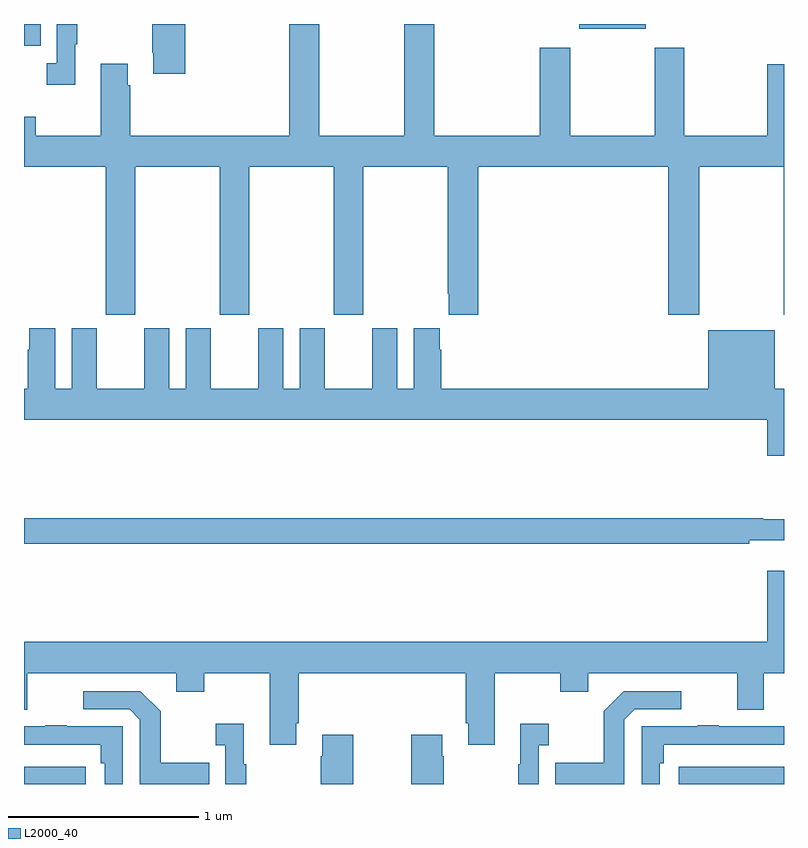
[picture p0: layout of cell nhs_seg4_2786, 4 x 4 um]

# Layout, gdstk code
import gdstk
lib = gdstk.Library(unit=1e-6, precision=1e-09)
def R(c, l, rs):  # rectangles x0, y0, x1, y1
    for r in rs: c.add(gdstk.rectangle(r[:2], r[2:], *l))
def P(c, l, *ps):  # polygons
    for p in ps: c.add(gdstk.Polygon(p, *l))
L2000_40 = (2000, 40)

nhs_seg4_2786 = lib.new_cell('nhs_seg4_2786')
R(nhs_seg4_2786, L2000_40, [(257,798.9,257.326,798.99), (260.445,798.9,261,798.99), (257,802.786,257.087,802.9), (259.922,802.874,260.272,802.9)])
P(nhs_seg4_2786, L2000_40, [(257.849,802.9),(257.674,802.9),(257.674,802.75),(257.681,802.75),(257.681,802.638),(257.849,802.638)],
  [(259.16,802.9),(259,802.9),(259,802.312),(258.555,802.312),(258.555,802.9),(258.395,802.9),(258.395,802.312),(257.558,802.312),(257.558,802.577),(257.545,802.577),(257.545,802.69),(257.405,802.69),(257.405,802.312),(257.061,802.312),(257.061,802.411),(257,802.411),(257,802.148),(257.431,802.148),(257.431,801.369),(257.586,801.369),(257.586,802.148),(258.031,802.148),(258.031,801.369),(258.186,801.369),(258.186,802.148),(258.631,802.148),(258.631,801.369),(258.786,801.369),(258.786,802.148),(259.231,802.148),(259.231,801.481),(259.235,801.481),(259.235,801.369),(259.391,801.369),(259.391,802.148),(260.392,802.148),(260.392,801.369),(260.553,801.369),(260.553,802.148),(260.998,802.148),(260.998,801.369),(261,801.369),(261,802.687),(260.912,802.687),(260.912,802.312),(260.475,802.312),(260.475,802.774),(260.32,802.774),(260.32,802.312),(259.875,802.312),(259.875,802.774),(259.715,802.774),(259.715,802.312),(259.16,802.312)],
  [(257.269,802.793),(257.281,802.793),(257.281,802.9),(257.172,802.9),(257.172,802.694),(257.121,802.694),(257.121,802.581),(257.269,802.581)],
  [(261,800.98),(260.95,800.98),(260.95,801.289),(260.6,801.289),(260.6,800.98),(259.196,800.98),(259.196,801.185),(259.189,801.185),(259.189,801.298),(259.052,801.298),(259.052,800.98),(258.964,800.98),(258.964,801.298),(258.833,801.298),(258.833,800.98),(258.583,800.98),(258.583,801.298),(258.452,801.298),(258.452,800.98),(258.364,800.98),(258.364,801.298),(258.233,801.298),(258.233,800.98),(257.983,800.98),(257.983,801.298),(257.852,801.298),(257.852,800.98),(257.764,800.98),(257.764,801.298),(257.633,801.298),(257.633,800.98),(257.383,800.98),(257.383,801.298),(257.252,801.298),(257.252,800.98),(257.164,800.98),(257.164,801.298),(257.027,801.298),(257.027,801.185),(257.021,801.185),(257.021,800.98),(257,800.98),(257,800.816),(260.912,800.816),(260.912,800.628),(261,800.628)],
  [(260.816,800.183),(261,800.183),(261,800.293),(260.89,800.293),(260.89,800.3),(257,800.3),(257,800.164),(260.816,800.164)],
  [(258.433,799.219),(258.446,799.219),(258.446,799.484),(259.325,799.484),(259.325,799.219),(259.337,799.219),(259.337,799.107),(259.477,799.107),(259.477,799.484),(259.822,799.484),(259.822,799.385),(259.969,799.385),(259.969,799.484),(260.753,799.484),(260.753,799.29),(260.893,799.29),(260.893,799.484),(261,799.484),(261,800.023),(260.912,800.023),(260.912,799.648),(257,799.648),(257,799.29),(257.017,799.29),(257.017,799.484),(257.801,799.484),(257.801,799.385),(257.949,799.385),(257.949,799.484),(258.293,799.484),(258.293,799.107),(258.433,799.107)],
  [(260.16,799.239),(260.214,799.293),(260.458,799.293),(260.458,799.389),(260.157,799.389),(260.052,799.283),(260.052,799.011),(259.795,799.011),(259.795,798.9),(260.16,798.9)],
  [(257.975,799.011),(257.719,799.011),(257.719,799.283),(257.613,799.389),(257.313,799.389),(257.313,799.293),(257.556,799.293),(257.61,799.239),(257.61,798.9),(257.975,798.9)],
  [(258.169,799.003),(258.157,799.003),(258.157,799.216),(258.009,799.216),(258.009,799.103),(258.06,799.103),(258.06,798.9),(258.169,798.9)],
  [(259.71,799.103),(259.762,799.103),(259.762,799.216),(259.613,799.216),(259.613,799.003),(259.602,799.003),(259.602,798.9),(259.71,798.9)],
  [(257.52,799.203),(257.225,799.203),(257.225,799.208),(257.113,799.208),(257.113,799.203),(257,799.203),(257,799.107),(257.404,799.107),(257.404,799.01),(257.424,799.01),(257.424,798.9),(257.52,798.9)],
  [(260.346,799.01),(260.366,799.01),(260.366,799.107),(261,799.107),(261,799.203),(260.657,799.203),(260.657,799.208),(260.545,799.208),(260.545,799.203),(260.25,799.203),(260.25,798.9),(260.346,798.9)],
  [(258.732,799.159),(258.569,799.159),(258.569,799.046),(258.562,799.046),(258.562,798.9),(258.732,798.9)],
  [(259.209,799.046),(259.201,799.046),(259.201,799.159),(259.039,799.159),(259.039,798.9),(259.209,798.9)])

lib.write_gds('nhs_seg4_2786.gds')
